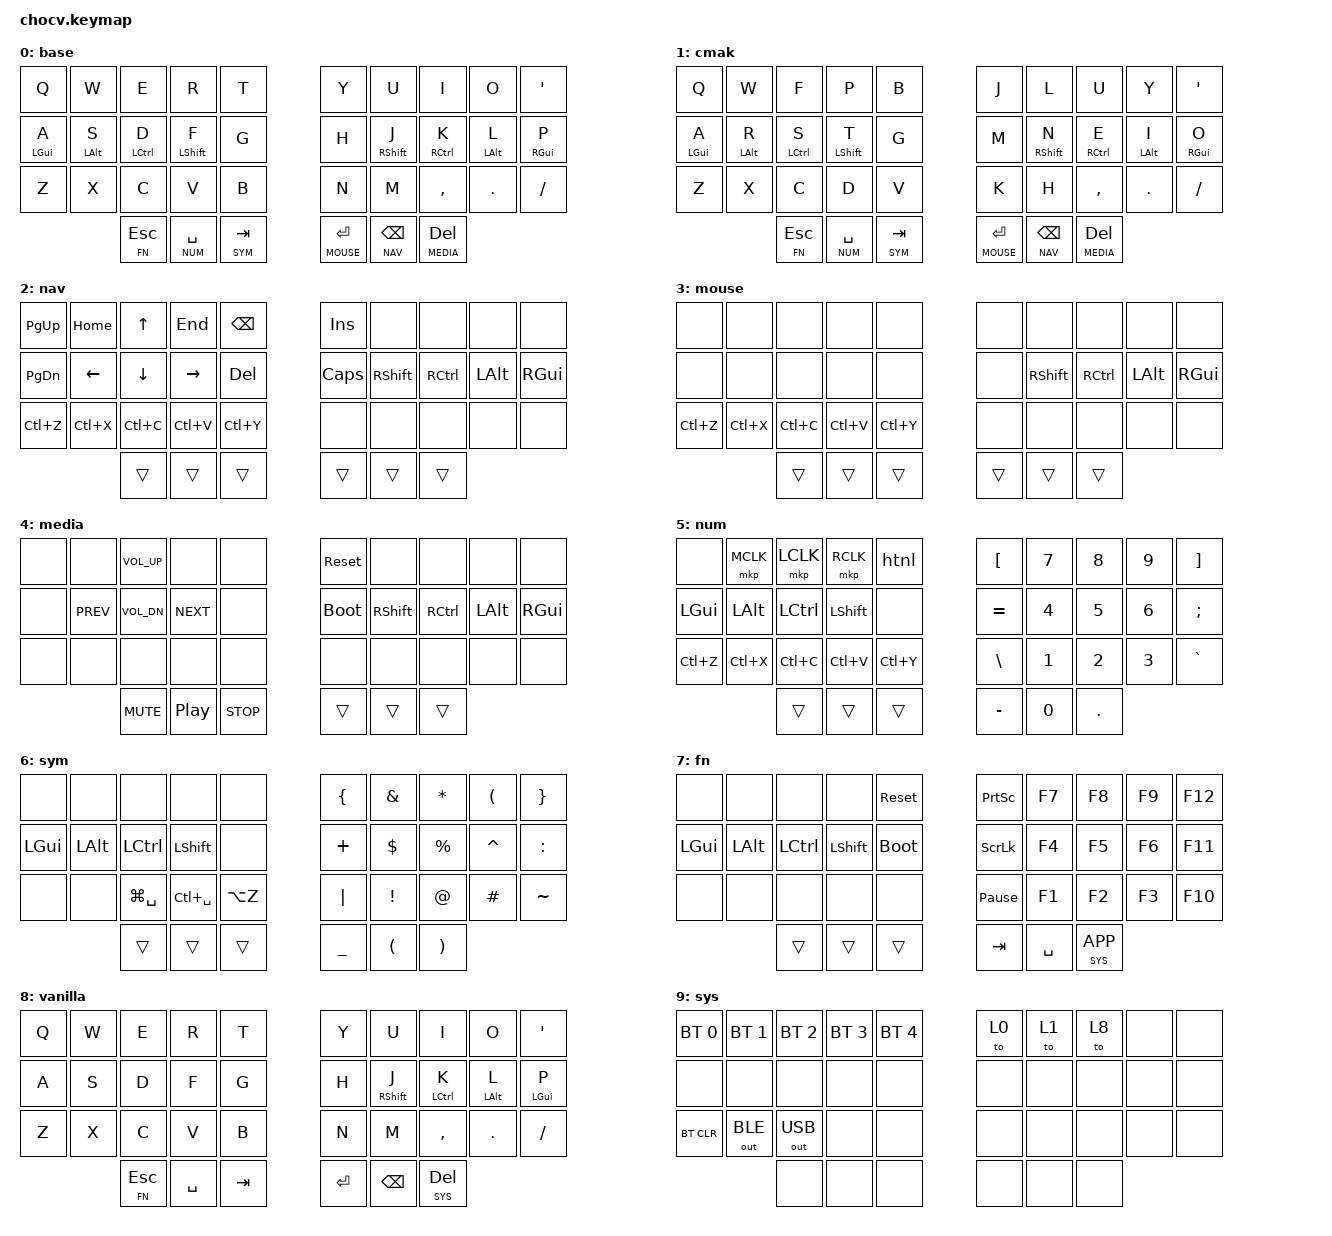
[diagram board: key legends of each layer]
/*
 * Copyright (c) 2020 The ZMK Contributors
 *
 * SPDX-License-Identifier: MIT
 */

#include <behaviors.dtsi>
#include <dt-bindings/zmk/keys.h>

#include <dt-bindings/zmk/bt.h>
#include <dt-bindings/zmk/ext_power.h>
#include <dt-bindings/zmk/outputs.h>

#include <dt-bindings/zmk/mouse.h>
#include <behaviors/mouse_keys.dtsi>

#define DEF     0
#define CMAK    1
#define NAV     2
#define MOUSE   3
#define MEDIA   4
#define NUM     5
#define SYM     6
#define FN      7
#define VANILLA 8
#define SYS     9

#define XXX &none
#define ___ &trans

&lt {
    quick-tap-ms = <200>;
};

&mmv {
    time-to-max-speed-ms = <50>;
};

&msc {
    acceleration-exponent=<1>;
};

/ {
    behaviors {
        hm: homerow_mods {
            compatible = "zmk,behavior-hold-tap";
            #binding-cells = <2>;
            tapping-term-ms = <200>;
            quick-tap-ms = <200>;
            flavor = "tap-preferred";
            bindings = <&kp>, <&kp>;
        };
    };

    macros {
        htnl: hold_tap_numlock {
            compatible = "zmk,behavior-macro";
            #binding-cells = <0>;
            bindings = <&macro_tap &kp KP_NUM>, <&macro_pause_for_release>, <&macro_tap &kp KP_NUM>;
        };
    };

	keymap {
		compatible = "zmk,keymap";

		base {
			bindings = <
//╭─────────────┬─────────────┬─────────────┬─────────────┬─────────────╮ ╭─────────────┬─────────────┬─────────────┬─────────────┬─────────────╮
    &kp Q         &kp W         &kp E         &kp R         &kp T           &kp Y         &kp U         &kp I         &kp O         &kp SQT      
//├─────────────┼─────────────┼─────────────┼─────────────┼─────────────┤ ├─────────────┼─────────────┼─────────────┼─────────────┼─────────────┤
    &hm LGUI A    &hm LALT S    &hm LCTRL D   &hm LSHFT F   &kp G           &kp H         &hm RSHFT J   &hm RCTRL K   &hm LALT L    &hm RGUI P   
//├─────────────┼─────────────┼─────────────┼─────────────┼─────────────┤ ├─────────────┼─────────────┼─────────────┼─────────────┼─────────────┤
    &kp Z         &kp X         &kp C         &kp V         &kp B           &kp N         &kp M         &kp COMMA     &kp DOT       &kp FSLH     
//╰─────────────┼─────────────┼─────────────┼─────────────┼─────────────┤ ├─────────────┼─────────────┼─────────────┼───────────────────────────╯
                                &lt FN ESC   &lt NUM SPACE  &lt SYM TAB     &lt MOUSE RET &lt NAV BSPC  &lt MEDIA DEL                            
//                            ╰─────────────┴─────────────┴─────────────╯ ╰─────────────┴─────────────┴─────────────╯                            
            >;
        };

        cmak {
			bindings = <
//╭─────────────┬─────────────┬─────────────┬─────────────┬─────────────╮ ╭─────────────┬─────────────┬─────────────┬─────────────┬─────────────╮
    &kp Q         &kp W         &kp F         &kp P         &kp B           &kp J         &kp L         &kp U         &kp Y         &kp SQT      
//├─────────────┼─────────────┼─────────────┼─────────────┼─────────────┤ ├─────────────┼─────────────┼─────────────┼─────────────┼─────────────┤
    &hm LGUI A    &hm LALT R    &hm LCTRL S   &hm LSHFT T   &kp G           &kp M         &hm RSHFT N   &hm RCTRL E   &hm LALT I    &hm RGUI O   
//├─────────────┼─────────────┼─────────────┼─────────────┼─────────────┤ ├─────────────┼─────────────┼─────────────┼─────────────┼─────────────┤
    &kp Z         &kp X         &kp C         &kp D         &kp V           &kp K         &kp H         &kp COMMA     &kp DOT       &kp FSLH     
//╰─────────────┼─────────────┼─────────────┼─────────────┼─────────────┤ ├─────────────┼─────────────┼─────────────┼───────────────────────────╯
                                &lt FN ESC    &lt NUM SPACE &lt SYM TAB     &lt MOUSE RET &lt NAV BSPC  &lt MEDIA DEL                            
//                            ╰─────────────┴─────────────┴─────────────╯ ╰─────────────┴─────────────┴─────────────╯                            
            >;
        };

        nav {
			bindings = <
//╭─────────────┬─────────────┬─────────────┬─────────────┬─────────────╮ ╭─────────────┬─────────────┬─────────────┬─────────────┬─────────────╮
    &kp PG_UP     &kp HOME      &kp UP        &kp END       &kp BSPC        &kp INS       XXX           XXX           XXX           XXX          
//├─────────────┼─────────────┼─────────────┼─────────────┼─────────────┤ ├─────────────┼─────────────┼─────────────┼─────────────┼─────────────┤
    &kp PG_DN     &kp LEFT      &kp DOWN      &kp RIGHT     &kp DEL         &kp CAPS      &kp RSHFT     &kp RCTRL     &kp LALT      &kp RGUI     
//├─────────────┼─────────────┼─────────────┼─────────────┼─────────────┤ ├─────────────┼─────────────┼─────────────┼─────────────┼─────────────┤
    &kp LC(Z)     &kp LC(X)     &kp LC(C)     &kp LC(V)     &kp LC(Y)       XXX           XXX           XXX           XXX           XXX          
//╰─────────────┼─────────────┼─────────────┼─────────────┼─────────────┤ ├─────────────┼─────────────┼─────────────┼───────────────────────────╯
                                ___           ___           ___             ___           ___           ___                                      
//                            ╰─────────────┴─────────────┴─────────────╯ ╰─────────────┴─────────────┴─────────────╯                            
            >;
        };

        mouse {
			bindings = <
//╭─────────────┬─────────────┬─────────────┬─────────────┬─────────────╮ ╭─────────────┬─────────────┬─────────────┬─────────────┬─────────────╮
    XXX           XXX           XXX           XXX           XXX             XXX           XXX           XXX           XXX           XXX          
//├─────────────┼─────────────┼─────────────┼─────────────┼─────────────┤ ├─────────────┼─────────────┼─────────────┼─────────────┼─────────────┤
    XXX           XXX           XXX           XXX           XXX             XXX           &kp RSHFT     &kp RCTRL     &kp LALT      &kp RGUI     
//├─────────────┼─────────────┼─────────────┼─────────────┼─────────────┤ ├─────────────┼─────────────┼─────────────┼─────────────┼─────────────┤
    &kp LC(Z)     &kp LC(X)     &kp LC(C)     &kp LC(V)     &kp LC(Y)       XXX           XXX           XXX           XXX           XXX          
//╰─────────────┼─────────────┼─────────────┼─────────────┼─────────────┤ ├─────────────┼─────────────┼─────────────┼───────────────────────────╯
                                ___           ___           ___             ___           ___           ___                                      
//                            ╰─────────────┴─────────────┴─────────────╯ ╰─────────────┴─────────────┴─────────────╯                            
            >;
        };

        media {
			bindings = <
//╭─────────────┬─────────────┬─────────────┬─────────────┬─────────────╮ ╭─────────────┬─────────────┬─────────────┬─────────────┬─────────────╮
    XXX           XXX           &kp C_VOL_UP  XXX           XXX             &sys_reset    XXX           XXX           XXX           XXX          
//├─────────────┼─────────────┼─────────────┼─────────────┼─────────────┤ ├─────────────┼─────────────┼─────────────┼─────────────┼─────────────┤
    XXX           &kp C_PREV    &kp C_VOL_DN  &kp C_NEXT    XXX             &bootloader   &kp RSHFT     &kp RCTRL     &kp LALT      &kp RGUI     
//├─────────────┼─────────────┼─────────────┼─────────────┼─────────────┤ ├─────────────┼─────────────┼─────────────┼─────────────┼─────────────┤
    XXX           XXX           XXX           XXX           XXX             XXX           XXX           XXX           XXX           XXX          
//╰─────────────┼─────────────┼─────────────┼─────────────┼─────────────┤ ├─────────────┼─────────────┼─────────────┼───────────────────────────╯
                                &kp C_MUTE    &kp C_PP      &kp C_STOP      ___           ___           ___                                      
//                            ╰─────────────┴─────────────┴─────────────╯ ╰─────────────┴─────────────┴─────────────╯                            
            >;
        };

        num {
			bindings = <
//╭─────────────┬─────────────┬─────────────┬─────────────┬─────────────╮ ╭─────────────┬─────────────┬─────────────┬─────────────┬─────────────╮
    XXX           &mkp MCLK     &mkp LCLK     &mkp RCLK     &htnl           &kp LBKT      &kp N7        &kp N8        &kp N9        &kp RBKT       
//├─────────────┼─────────────┼─────────────┼─────────────┼─────────────┤ ├─────────────┼─────────────┼─────────────┼─────────────┼─────────────┤
    &kp LGUI      &kp LALT      &kp LCTRL     &kp LSHFT     XXX             &kp EQUAL     &kp N4        &kp N5        &kp N6        &kp SEMI     
//├─────────────┼─────────────┼─────────────┼─────────────┼─────────────┤ ├─────────────┼─────────────┼─────────────┼─────────────┼─────────────┤
    &kp LC(Z)     &kp LC(X)     &kp LC(C)     &kp LC(V)     &kp LC(Y)       &kp BSLH      &kp N1        &kp N2        &kp N3        &kp GRAVE    
//╰─────────────┼─────────────┼─────────────┼─────────────┼─────────────┤ ├─────────────┼─────────────┼─────────────┼───────────────────────────╯
                                ___           ___           ___             &kp MINUS     &kp N0        &kp DOT                                  
//                            ╰─────────────┴─────────────┴─────────────╯ ╰─────────────┴─────────────┴─────────────╯                            
            >;
        };

        sym {
			bindings = <
//╭─────────────┬─────────────┬─────────────┬─────────────┬─────────────╮ ╭─────────────┬─────────────┬─────────────┬─────────────┬─────────────╮
    XXX           XXX           XXX           XXX           XXX             &kp LBRC      &kp AMPS      &kp ASTRK     &kp LPAR      &kp RBRC     
//├─────────────┼─────────────┼─────────────┼─────────────┼─────────────┤ ├─────────────┼─────────────┼─────────────┼─────────────┼─────────────┤
    &kp LGUI      &kp LALT      &kp LCTRL     &kp LSHFT     XXX             &kp PLUS      &kp DLLR      &kp PRCNT     &kp CARET     &kp COLON    
//├─────────────┼─────────────┼─────────────┼─────────────┼─────────────┤ ├─────────────┼─────────────┼─────────────┼─────────────┼─────────────┤
    XXX           XXX           &kp LG(SPACE) &kp LC(SPACE) &kp LA(Z)       &kp PIPE      &kp EXCL      &kp AT        &kp HASH      &kp TILDE    
//╰─────────────┼─────────────┼─────────────┼─────────────┼─────────────┤ ├─────────────┼─────────────┼─────────────┼───────────────────────────╯
                                ___           ___           ___             &kp UNDER     &kp LPAR      &kp RPAR                                 
//                            ╰─────────────┴─────────────┴─────────────╯ ╰─────────────┴─────────────┴─────────────╯                            
            >;
        };

        fn {
			bindings = <
//╭─────────────┬─────────────┬─────────────┬─────────────┬─────────────╮ ╭─────────────┬─────────────┬─────────────┬─────────────┬─────────────╮
    XXX           XXX           XXX           XXX           &sys_reset      &kp PSCRN     &kp F7        &kp F8        &kp F9        &kp F12      
//├─────────────┼─────────────┼─────────────┼─────────────┼─────────────┤ ├─────────────┼─────────────┼─────────────┼─────────────┼─────────────┤
    &kp LGUI      &kp LALT      &kp LCTRL     &kp LSHFT     &bootloader     &kp SLCK      &kp F4        &kp F5        &kp F6        &kp F11      
//├─────────────┼─────────────┼─────────────┼─────────────┼─────────────┤ ├─────────────┼─────────────┼─────────────┼─────────────┼─────────────┤
    XXX           XXX           XXX           XXX           XXX           &kp PAUSE_BREAK &kp F1        &kp F2        &kp F3        &kp F10      
//╰─────────────┼─────────────┼─────────────┼─────────────┼─────────────┤ ├─────────────┼─────────────┼─────────────┼───────────────────────────╯
                                ___           ___           ___             &kp TAB       &kp SPACE     &lt SYS K_APP                         
//                            ╰─────────────┴─────────────┴─────────────╯ ╰─────────────┴─────────────┴─────────────╯                            
            >;
        };

        vanilla {
			bindings = <
//╭─────────────┬─────────────┬─────────────┬─────────────┬─────────────╮ ╭─────────────┬─────────────┬─────────────┬─────────────┬─────────────╮
    &kp Q         &kp W         &kp E         &kp R         &kp T           &kp Y         &kp U         &kp I         &kp O         &kp SQT      
//├─────────────┼─────────────┼─────────────┼─────────────┼─────────────┤ ├─────────────┼─────────────┼─────────────┼─────────────┼─────────────┤
    &kp A         &kp S         &kp D         &kp F         &kp G           &kp H         &hm RSHIFT J  &hm LCTRL K   &hm LALT L    &hm LGUI P   
//├─────────────┼─────────────┼─────────────┼─────────────┼─────────────┤ ├─────────────┼─────────────┼─────────────┼─────────────┼─────────────┤
    &kp Z         &kp X         &kp C         &kp V         &kp B           &kp N         &kp M         &kp COMMA     &kp DOT       &kp FSLH     
//╰─────────────┼─────────────┼─────────────┼─────────────┼─────────────┤ ├─────────────┼─────────────┼─────────────┼───────────────────────────╯
                                &lt FN ESC    &kp SPACE     &kp TAB         &kp RET       &kp BSPC      &lt SYS DEL                           
//                            ╰─────────────┴─────────────┴─────────────╯ ╰─────────────┴─────────────┴─────────────╯                            
            >;
        };

        sys {
			bindings = <
//╭─────────────┬─────────────┬─────────────┬─────────────┬─────────────╮ ╭─────────────┬─────────────┬─────────────┬─────────────┬─────────────╮
    &bt BT_SEL 0  &bt BT_SEL 1  &bt BT_SEL 2  &bt BT_SEL 3  &bt BT_SEL 4    &to 0         &to 1         &to 8         XXX           XXX          
//├─────────────┼─────────────┼─────────────┼─────────────┼─────────────┤ ├─────────────┼─────────────┼─────────────┼─────────────┼─────────────┤
    XXX           XXX           XXX           XXX           XXX             XXX           XXX           XXX           XXX           XXX          
//├─────────────┼─────────────┼─────────────┼─────────────┼─────────────┤ ├─────────────┼─────────────┼─────────────┼─────────────┼─────────────┤
    &bt BT_CLR    &out OUT_BLE  &out OUT_USB  XXX           XXX             XXX           XXX           XXX           XXX           XXX          
//╰─────────────┼─────────────┼─────────────┼─────────────┼─────────────┤ ├─────────────┼─────────────┼─────────────┼───────────────────────────╯
                                XXX           XXX           XXX             XXX           XXX           XXX                                      
//                            ╰─────────────┴─────────────┴─────────────╯ ╰─────────────┴─────────────┴─────────────╯                            
            >;
        };
	};
};
